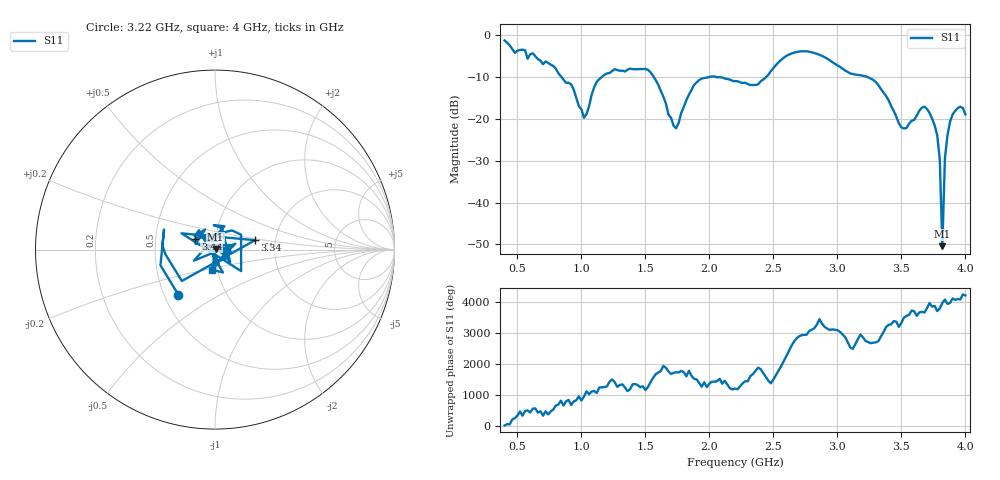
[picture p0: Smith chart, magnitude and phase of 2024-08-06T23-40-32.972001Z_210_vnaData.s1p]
!Created with skrf (http://scikit-rf.org).
# Hz S RI R 50.0
!freq ReS11 ImS11
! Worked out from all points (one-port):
!   181 points, 400 MHz to 4 GHz, reference 50 ohm
!   lowest |S11| = -50.5 dB at 3.82 GHz (marker M1), VSWR 1.01, Z = 50.3 + j0.0936 ohm
!   |S11| at or under -10 dB: 1.566 GHz to 1.991 GHz (424.4 MHz wide, 23.9 % of centre); 2.084 GHz to 2.442 GHz (357.9 MHz wide, 15.8 % of centre); 3.24 GHz to end of sweep (the widest 3 of 5)
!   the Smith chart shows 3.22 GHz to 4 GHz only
!   S11 on the Smith chart (normalised r, x): 3.22 GHz: 0.59, -0.33; 3.34 GHz: 1.56, +0.17; 3.44 GHz: 0.80, +0.10; 4 GHz: 0.95, -0.22
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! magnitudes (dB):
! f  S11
! 400 MHz  -1.2
! 860 MHz  -10.6
! 920 MHz  -11.7
! 1.02 GHz  -19.7
! 1.12 GHz  -11.1
! 1.3 GHz  -8.4
! 1.52 GHz  -8.2
! 1.6 GHz  -11.8
! 1.72 GHz  -21.6
! 1.76 GHz  -20.9
! 1.92 GHz  -10.7
! 2.2 GHz  -10.9
! 2.38 GHz  -11.7
! 2.66 GHz  -4.1
! 3.1 GHz  -9.1
! 3.22 GHz  -9.8
! 3.34 GHz  -12.8
! 3.44 GHz  -18.1
! 3.5 GHz  -22.0
! 3.56 GHz  -21.1
! 3.68 GHz  -17.0
! 3.76 GHz  -21.6
! 3.8 GHz  -29.7
! 3.82 GHz  -50.5
! 3.84 GHz  -29.4
! 3.86 GHz  -23.9
! 3.92 GHz  -18.1
! 4 GHz  -18.9
